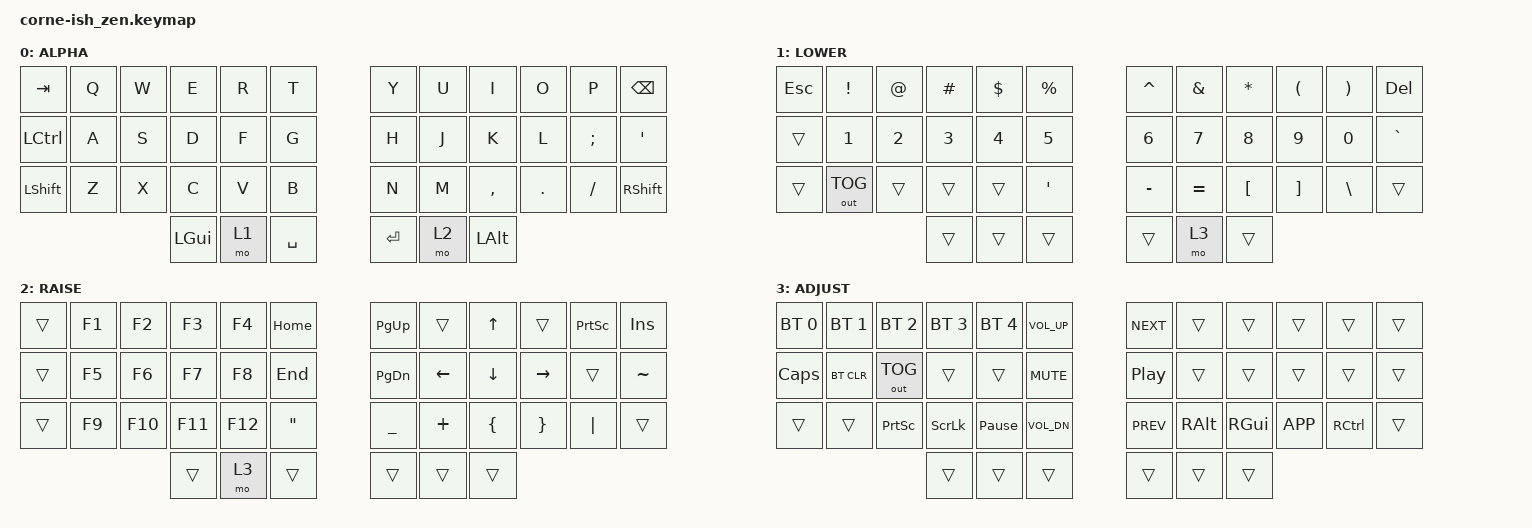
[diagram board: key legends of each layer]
/*
*
* Copyright (c) 2021 Darryl deHaan
* SPDX-License-Identifier: MIT
*
*/

#include <behaviors.dtsi>
#include <dt-bindings/zmk/keys.h>
#include <dt-bindings/zmk/bt.h>
#include <dt-bindings/zmk/outputs.h>

/ {
        keymap {
                compatible = "zmk,keymap";

                default_layer {
                        label = "ALPHA";
                        bindings = <
   &kp TAB   &kp Q &kp W    &kp E    &kp R &kp T     &kp Y   &kp U &kp I     &kp O   &kp P    &kp BSPC
   &kp LCTRL &kp A &kp S    &kp D    &kp F &kp G     &kp H   &kp J &kp K     &kp L   &kp SEMI &kp SQT
   &kp LSHFT &kp Z &kp X    &kp C    &kp V &kp B     &kp N   &kp M &kp COMMA &kp DOT &kp FSLH &kp RSHFT
                            &kp LGUI &mo 1 &kp SPACE &kp RET &mo 2 &kp LALT
                        >;
                };
                lower_layer {
                        label = "LOWER";
                        bindings = <
   &kp ESC &kp EXCL     &kp AT &kp HASH &kp DLLR &kp PRCNT &kp CARET &kp AMPS  &kp ASTRK &kp LPAR  &kp RPAR &kp DEL
   &trans  &kp N1       &kp N2 &kp N3   &kp N4   &kp N5    &kp N6    &kp N7    &kp N8    &kp N9    &kp N0   &kp GRAVE
   &trans  &out OUT_TOG &trans &trans   &trans   &kp SQT   &kp MINUS &kp EQUAL &kp LBKT  &kp RBKT  &kp BSLH &trans
                           &trans   &trans   &trans    &trans    &mo 3     &trans
                        >;
                };
                raise_layer {
                        label = "RAISE";
                        bindings = <
   &trans &kp F1 &kp F2  &kp F3  &kp F4  &kp HOME &kp PG_UP &trans   &kp UP   &trans    &kp PSCRN &kp INS
   &trans &kp F5 &kp F6  &kp F7  &kp F8  &kp END  &kp PG_DN &kp LEFT &kp DOWN &kp RIGHT &trans    &kp TILDE
   &trans &kp F9 &kp F10 &kp F11 &kp F12 &kp DQT  &kp UNDER &kp PLUS &kp LBRC &kp RBRC  &kp PIPE  &trans
                         &trans  &mo 3   &trans   &trans    &trans   &trans
                        >;
                };
                adjust_layer {
                        label = "ADJUST";
                        bindings = <
   &bt BT_SEL 0 &bt BT_SEL 1 &bt BT_SEL 2 &bt BT_SEL 3 &bt BT_SEL 4    &kp C_VOL_UP &kp C_NEXT &trans   &trans   &trans    &trans    &trans
   &kp CAPS     &bt BT_CLR   &out OUT_TOG &trans       &trans          &kp C_MUTE   &kp C_PP   &trans   &trans   &trans    &trans    &trans
   &trans       &trans       &kp PSCRN    &kp SLCK     &kp PAUSE_BREAK &kp C_VOL_DN &kp C_PREV &kp RALT &kp RGUI &kp K_APP &kp RCTL  &trans
                                          &trans       &trans          &trans       &trans     &trans   &trans
                        >;
                };
        };
};
